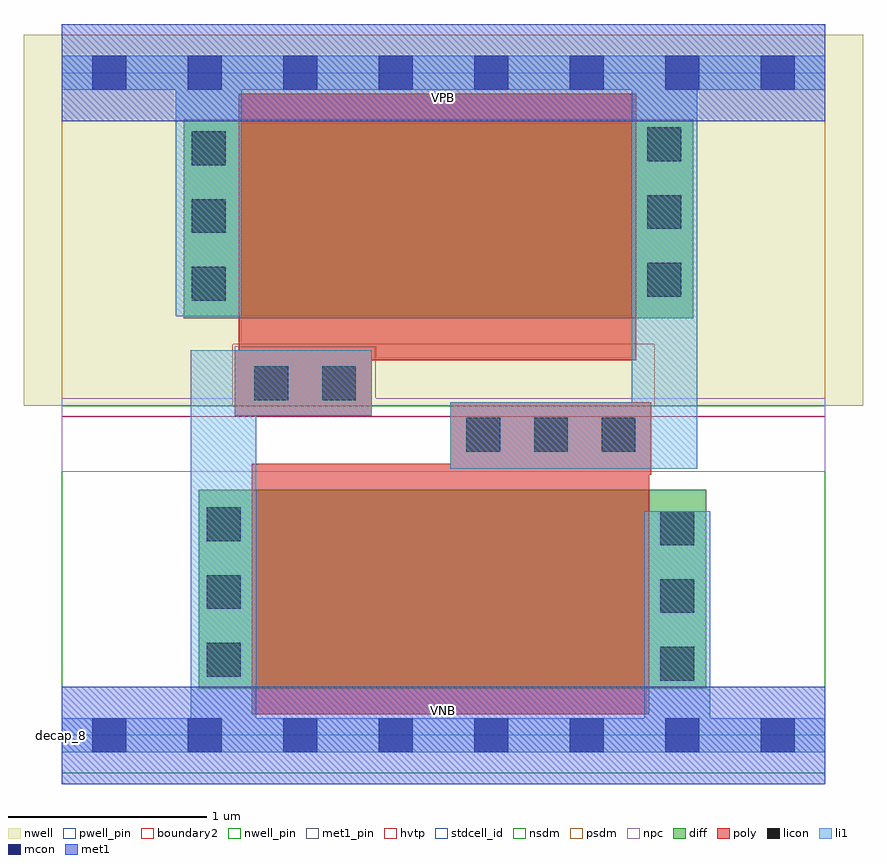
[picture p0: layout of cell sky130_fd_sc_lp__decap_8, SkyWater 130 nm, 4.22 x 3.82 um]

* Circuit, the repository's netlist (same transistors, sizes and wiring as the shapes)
* Copyright 2020 The SkyWater PDK Authors
*
* Licensed under the Apache License, Version 2.0 (the "License");
* you may not use this file except in compliance with the License.
* You may obtain a copy of the License at
*
*     https://www.apache.org/licenses/LICENSE-2.0
*
* Unless required by applicable law or agreed to in writing, software
* distributed under the License is distributed on an "AS IS" BASIS,
* WITHOUT WARRANTIES OR CONDITIONS OF ANY KIND, either express or implied.
* See the License for the specific language governing permissions and
* limitations under the License.
*
* SPDX-License-Identifier: Apache-2.0

.SUBCKT sky130_fd_sc_lp__decap_8 VGND VNB VPB VPWR
*.PININFO VGND:I VNB:I VPB:I VPWR:I
MI1 VGND VPWR VGND VNB sky130_fd_pr__nfet_01v8 m=1 w=1.0U l=2.0U mult=1 sa=0.265
+ sb=0.265 sd=0.28 area=0.063 perim=1.14
MI2 VPWR VGND VPWR VPB sky130_fd_pr__pfet_01v8_hvt m=1 w=1.0U l=2.0U mult=1 sa=0.265
+ sb=0.265 sd=0.28 area=0.063 perim=1.14
.ENDS sky130_fd_sc_lp__decap_8

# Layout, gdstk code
import gdstk
lib = gdstk.Library(unit=1e-6, precision=1e-09)
def R(c, l, rs):  # rectangles x0, y0, x1, y1
    for r in rs: c.add(gdstk.rectangle(r[:2], r[2:], *l))
def A(c, l, x, y, w, h, nx, ny, dx, dy):  # array of equal rectangles
    R(c, l, [(x+i*dx, y+j*dy, x+i*dx+w, y+j*dy+h) for i in range(nx) for j in range(ny)])
def P(c, l, *ps):  # polygons
    for p in ps: c.add(gdstk.Polygon(p, *l))
nwell_pin = (64, 16)
nwell = (64, 20)
diff = (65, 20)
poly = (66, 20)
licon = (66, 44)
li1 = (67, 20)
mcon = (67, 44)
met1_pin = (68, 16)
met1 = (68, 20)
hvtp = (78, 44)
stdcell_id = (81, 4)
nsdm = (93, 44)
psdm = (94, 20)
npc = (95, 20)
pwell_pin = (122, 16)
boundary2 = (236, 0)

sky130_fd_sc_lp__decap_8 = lib.new_cell('sky130_fd_sc_lp__decap_8')
R(sky130_fd_sc_lp__decap_8, nwell_pin, [(0,3.085,3.84,3.33)])
R(sky130_fd_sc_lp__decap_8, nwell, [(-0.19,1.655,4.03,3.52)])
R(sky130_fd_sc_lp__decap_8, diff, [(0.69,0.235,3.24,1.235), (0.615,2.095,3.175,3.095)])
P(sky130_fd_sc_lp__decap_8, poly, [(2.965,1.675),(1.955,1.675),(1.955,1.365),(0.955,1.365),(0.955,0.105),(2.955,0.105),(2.955,1.31),(2.965,1.31)],
  [(2.89,3.225),(0.89,3.225),(0.89,1.935),(0.87,1.935),(0.87,1.605),(1.56,1.605),(1.56,1.885),(2.89,1.885)])
A(sky130_fd_sc_lp__decap_8, licon, 3.01, 0.275, 0.17, 0.17, 1, 3, 0, 0.34)
A(sky130_fd_sc_lp__decap_8, licon, 0.73, 0.295, 0.17, 0.17, 1, 3, 0, 0.34)
A(sky130_fd_sc_lp__decap_8, licon, 2.035, 1.425, 0.17, 0.17, 3, 1, 0.34, 0)
A(sky130_fd_sc_lp__decap_8, licon, 0.655, 2.185, 0.17, 0.17, 1, 3, 0, 0.34)
A(sky130_fd_sc_lp__decap_8, licon, 2.945, 2.205, 0.17, 0.17, 1, 3, 0, 0.34)
R(sky130_fd_sc_lp__decap_8, licon, [(0.97,1.685,1.14,1.855), (1.31,1.685,1.48,1.855)])
R(sky130_fd_sc_lp__decap_8, li1, [(2.93,0.055,3.26,1.125)])
P(sky130_fd_sc_lp__decap_8, li1, [(0.575,2.105),(0.575,3.245),(0,3.245),(0,3.415),(3.84,3.415),(3.84,3.245),(0.905,3.245),(0.905,2.105)],
  [(3.84,0.085),(0.98,0.085),(0.98,1.605),(1.56,1.605),(1.56,1.935),(0.65,1.935),(0.65,0.085),(0,0.085),(0,-0.085),(3.84,-0.085)],
  [(3.195,3.32),(2.865,3.32),(2.865,1.675),(1.955,1.675),(1.955,1.34),(3.195,1.34)])
A(sky130_fd_sc_lp__decap_8, mcon, 0.155, -0.085, 0.17, 0.17, 8, 2, 0.48, 3.33)
R(sky130_fd_sc_lp__decap_8, met1_pin, [(0,0,3.84,0.245), (0,3.085,3.84,3.33)])
R(sky130_fd_sc_lp__decap_8, met1, [(0,-0.245,3.84,0.245), (0,3.085,3.84,3.575)])
R(sky130_fd_sc_lp__decap_8, hvtp, [(0,1.6,3.84,3.33)])
R(sky130_fd_sc_lp__decap_8, stdcell_id, [(0,0,3.84,3.33)])
R(sky130_fd_sc_lp__decap_8, nsdm, [(0,-0.19,3.84,1.655)])
P(sky130_fd_sc_lp__decap_8, psdm, [(3.84,3.52),(0,3.52),(0,1.655),(0.86,1.655),(0.86,1.965),(2.98,1.965),(2.98,1.655),(3.84,1.655)])
P(sky130_fd_sc_lp__decap_8, npc, [(3.84,1.695),(1.58,1.695),(1.58,1.955),(0.87,1.955),(0.87,1.695),(0,1.695),(0,1.325),(3.84,1.325)])
R(sky130_fd_sc_lp__decap_8, pwell_pin, [(0,0,3.84,0.245)])
R(sky130_fd_sc_lp__decap_8, boundary2, [(0,0,3.84,3.33)])
sky130_fd_sc_lp__decap_8.add(gdstk.Label('VNB', (1.92,0.123), layer=64, texttype=59))
sky130_fd_sc_lp__decap_8.add(gdstk.Label('VPB', (1.92,3.208), layer=64, texttype=5))
sky130_fd_sc_lp__decap_8.add(gdstk.Label('decap_8', (0,0), layer=83, texttype=44))
sky130_fd_sc_lp__decap_8.add(gdstk.Label('VGND', (1.92,0.123), layer=68, texttype=5))
sky130_fd_sc_lp__decap_8.add(gdstk.Label('VPWR', (1.92,3.208), layer=68, texttype=5))

lib.write_gds('sky130_fd_sc_lp__decap_8.gds')
